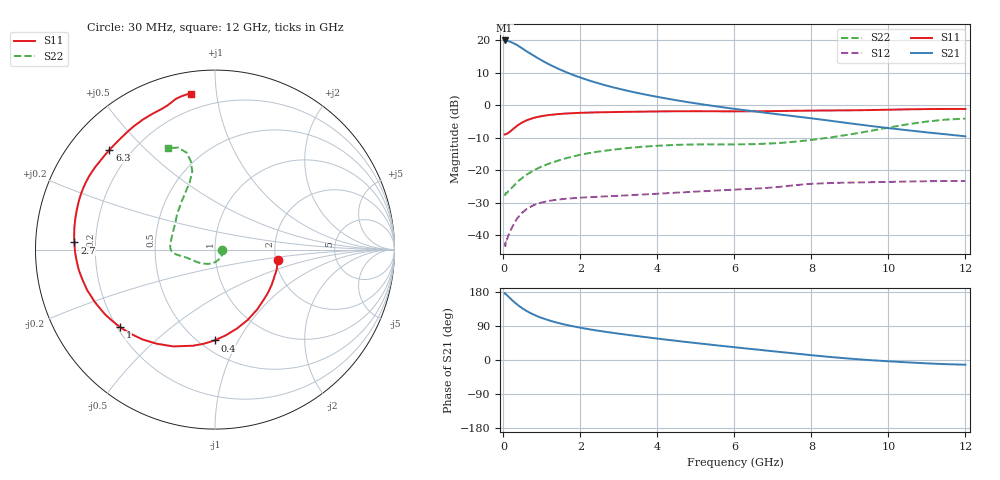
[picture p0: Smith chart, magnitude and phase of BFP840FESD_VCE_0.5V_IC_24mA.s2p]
! Infineon Technologies  Discrete & RF Semiconductors
! BFP840FESD
! VCE =  0.5 V,  IC =  24 mA
! Common Emitter S-Parameters:  May 2012
# GHz  S  MA  R  50
!  f  S11  S21  S12  S22
! GHz  MAG  ANG  MAG  ANG  MAG  ANG  MAG  ANG
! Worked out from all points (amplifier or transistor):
!   103 points, 30 MHz to 12 GHz, reference 50 ohm
!   highest |S21| = 20.0 dB at 30 MHz (marker M1)
!   |S21| within 3 dB of that: start of sweep to 558.4 MHz
!   unconditionally stable (mu >= 1): start of sweep to end of sweep
!   at 400 MHz: K = 2.38, MAG = 19.6 dB, |S12| = -34.2 dB
!   at 3.7 GHz: K = 2.76, MAG = 8.1 dB, |S12| = -27.4 dB
!   at 12 GHz: K = 3.51, MAG = -1.5 dB, |S12| = -23.3 dB
!   S11 on the Smith chart (normalised r, x): 30 MHz: 2.06, -0.26; 400 MHz: 0.59, -0.80; 1 GHz: 0.21, -0.34; 2.7 GHz: 0.12, +0.02; 6.3 GHz: 0.12, +0.39; 12 GHz: 0.11, +0.85
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0.03  0.3561 -9.0  9.957 176.0  0.0072 18.1  0.0407 0.3
0.04  0.3566 -12.0  9.892 175.0  0.0073 17.7  0.042 -4.4
0.05  0.3577 -14.9  9.816 175.4  0.0068 21.8  0.0418 -6.8
0.13  0.3777 -37.1  9.722 167.2  0.0099 35.9  0.0481 -32.7
0.25  0.4317 -64.9  9.096 155.6  0.0141 44.9  0.0563 -62.3
0.35  0.4812 -82.8  8.512 147.0  0.0179 45.1  0.0641 -81.0
0.4  0.5063 -90.3  8.085 142.9  0.0196 44.4  0.0697 -88.5
0.5  0.5494 -102.9  7.437 135.8  0.0226 42.7  0.0774 -101.2
0.7  0.617 -121.8  6.243 123.9  0.0274 38.5  0.0928 -121.4
0.9  0.6646 -135.3  5.291 114.6  0.0308 34.7  0.1076 -135.5
1  0.6831 -140.7  4.891 110.8  0.032 33.0  0.1149 -140.8
1.2  0.7112 -149.5  4.23 104.1  0.0339 30.1  0.1277 -149.1
1.4  0.7308 -156.5  3.709 98.4  0.0353 27.9  0.1398 -155.5
1.7  0.7516 -164.9  3.114 91.2  0.0369 25.6  0.157 -162.1
2.1  0.7699 -173.3  2.549 83.3  0.0382 23.7  0.1782 -166.8
2.7  0.7842 177.1  1.994 73.7  0.0398 22.5  0.2024 -170.8
4.1  0.8066 159.4  1.316 55.3  0.044 22.8  0.2403 -177.5
6.1  0.8084 138.9  0.867 32.6  0.0508 22.8  0.2507 164.5
6.3  0.8087 136.7  0.837 30.5  0.0514 22.8  0.2514 161.6
8.5  0.8334 114.4  0.578 7.8  0.0638 18.4  0.3211 126.2
10.5  0.8674 104.6  0.413 -6.2  0.0672 13.1  0.5109 105.3
12  0.8786 98.6  0.333 -12.4  0.0686 11.9  0.6242 114.9
